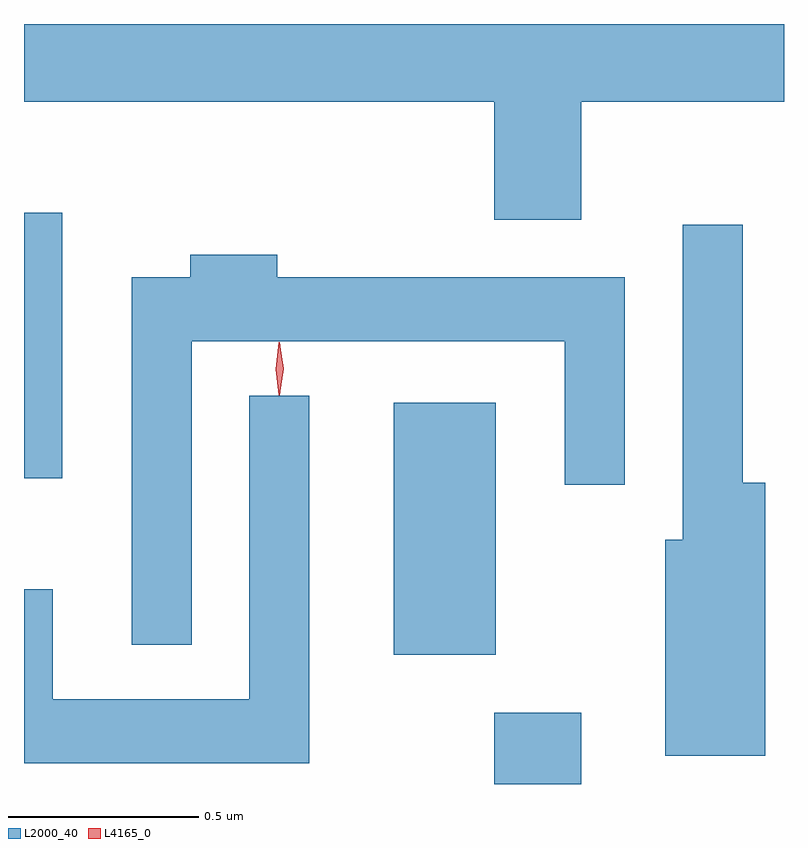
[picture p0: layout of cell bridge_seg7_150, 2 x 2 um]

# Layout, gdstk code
import gdstk
lib = gdstk.Library(unit=1e-6, precision=1e-09)
def R(c, l, rs):  # rectangles x0, y0, x1, y1
    for r in rs: c.add(gdstk.rectangle(r[:2], r[2:], *l))
def P(c, l, *ps):  # polygons
    for p in ps: c.add(gdstk.Polygon(p, *l))
L2000_40 = (2000, 40)
L4165_0 = (4165, 0)

bridge_seg7_150 = lib.new_cell('bridge_seg7_150')
R(bridge_seg7_150, L2000_40, [(1480.921,1714.741,1481.149,1714.929), (1480.656,1715.081,1480.924,1715.744), (1479.683,1715.546,1479.784,1716.244)])
P(bridge_seg7_150, L2000_40, [(1481.149,1716.536),(1481.683,1716.536),(1481.683,1716.741),(1479.683,1716.741),(1479.683,1716.536),(1480.921,1716.536),(1480.921,1716.226),(1481.149,1716.226)],
  [(1481.634,1715.534),(1481.574,1715.534),(1481.574,1716.213),(1481.416,1716.213),(1481.416,1715.384),(1481.371,1715.384),(1481.371,1714.816),(1481.634,1714.816)],
  [(1480.124,1715.906),(1481.106,1715.906),(1481.106,1715.528),(1481.264,1715.528),(1481.264,1716.074),(1480.349,1716.074),(1480.349,1716.134),(1480.121,1716.134),(1480.121,1716.074),(1479.966,1716.074),(1479.966,1715.108),(1480.124,1715.108)],
  [(1480.434,1715.763),(1480.276,1715.763),(1480.276,1714.964),(1479.759,1714.964),(1479.759,1715.254),(1479.683,1715.254),(1479.683,1714.796),(1480.434,1714.796)])
P(bridge_seg7_150, L4165_0, [(1480.354,1715.764),(1480.345,1715.833),(1480.354,1715.903),(1480.355,1715.903),(1480.356,1715.903),(1480.365,1715.833),(1480.356,1715.764),(1480.355,1715.764)],
  [(1480.356,1715.767),(1480.356,1715.767),(1480.346,1715.834),(1480.356,1715.9),(1480.356,1715.901),(1480.356,1715.9),(1480.366,1715.834),(1480.356,1715.767)])

lib.write_gds('bridge_seg7_150.gds')
